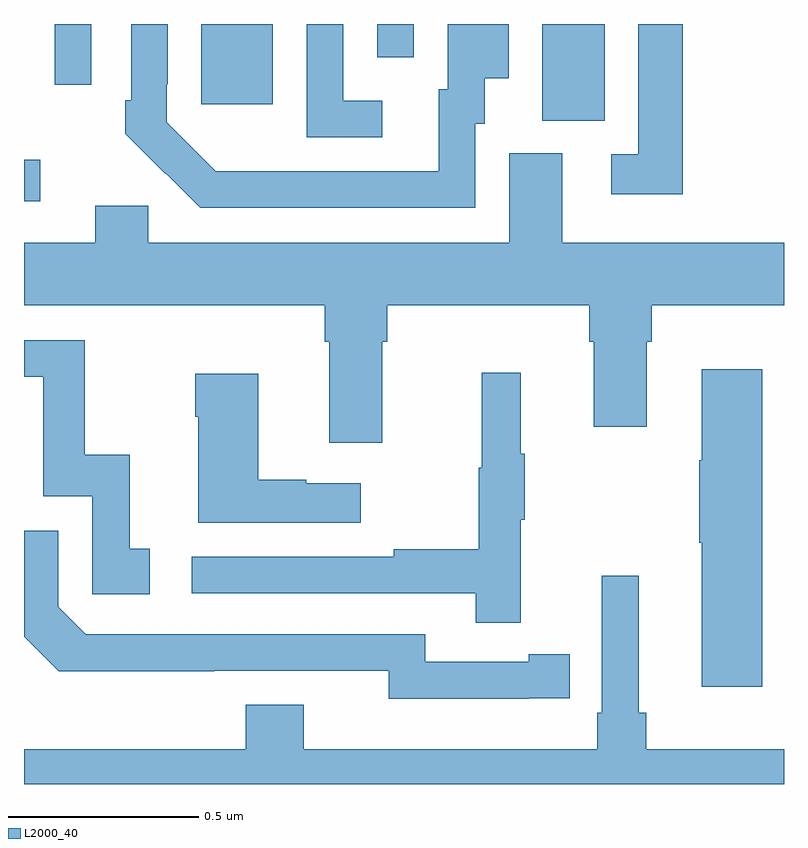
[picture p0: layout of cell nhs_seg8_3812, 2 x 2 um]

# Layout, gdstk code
import gdstk
lib = gdstk.Library(unit=1e-6, precision=1e-09)
def R(c, l, rs):  # rectangles x0, y0, x1, y1
    for r in rs: c.add(gdstk.rectangle(r[:2], r[2:], *l))
def P(c, l, *ps):  # polygons
    for p in ps: c.add(gdstk.Polygon(p, *l))
L2000_40 = (2000, 40)

nhs_seg8_3812 = lib.new_cell('nhs_seg8_3812')
R(nhs_seg8_3812, L2000_40, [(162,1123.434,162.043,1123.543), (163.364,1123.645,163.528,1123.9), (162.467,1123.689,162.655,1123.9), (162.081,1123.74,162.177,1123.9), (162.93,1123.812,163.026,1123.9)])
P(nhs_seg8_3812, L2000_40, [(163.188,1123.638),(163.213,1123.638),(163.213,1123.757),(163.276,1123.757),(163.276,1123.9),(163.115,1123.9),(163.115,1123.728),(163.091,1123.728),(163.091,1123.512),(162.607,1123.512),(162.607,1123.513),(162.504,1123.513),(162.375,1123.641),(162.375,1123.741),(162.378,1123.741),(162.378,1123.9),(162.282,1123.9),(162.282,1123.699),(162.267,1123.699),(162.267,1123.611),(162.372,1123.506),(162.373,1123.507),(162.464,1123.416),(163.188,1123.416)],
  [(162.943,1123.698),(162.84,1123.698),(162.84,1123.9),(162.744,1123.9),(162.744,1123.602),(162.943,1123.602)],
  [(163.733,1123.9),(163.617,1123.9),(163.617,1123.557),(163.545,1123.557),(163.545,1123.452),(163.733,1123.452)],
  [(162.943,1123.064),(162.956,1123.064),(162.956,1123.16),(163.487,1123.16),(163.487,1123.064),(163.499,1123.064),(163.499,1122.84),(163.639,1122.84),(163.639,1123.064),(163.652,1123.064),(163.652,1123.16),(164,1123.16),(164,1123.324),(163.417,1123.324),(163.417,1123.56),(163.277,1123.56),(163.277,1123.324),(162.327,1123.324),(162.327,1123.422),(162.188,1123.422),(162.188,1123.324),(162,1123.324),(162,1123.16),(162.791,1123.16),(162.791,1123.064),(162.803,1123.064),(162.803,1122.798),(162.943,1122.798)],
  [(162.331,1122.519),(162.278,1122.519),(162.278,1122.766),(162.16,1122.766),(162.16,1123.068),(162,1123.068),(162,1122.972),(162.051,1122.972),(162.051,1122.657),(162.18,1122.657),(162.18,1122.399),(162.331,1122.399)],
  [(163.943,1122.991),(163.784,1122.991),(163.784,1122.752),(163.777,1122.752),(163.777,1122.535),(163.784,1122.535),(163.784,1122.156),(163.943,1122.156)],
  [(163.307,1122.595),(163.318,1122.595),(163.318,1122.769),(163.307,1122.769),(163.307,1122.982),(163.204,1122.982),(163.204,1122.732),(163.197,1122.732),(163.197,1122.518),(162.973,1122.518),(162.973,1122.498),(162.441,1122.498),(162.441,1122.402),(163.189,1122.402),(163.189,1122.324),(163.307,1122.324)],
  [(162.886,1122.691),(162.743,1122.691),(162.743,1122.701),(162.616,1122.701),(162.616,1122.979),(162.451,1122.979),(162.451,1122.866),(162.458,1122.866),(162.458,1122.587),(162.886,1122.587)],
  [(163.328,1122.126),(163.436,1122.126),(163.436,1122.242),(163.328,1122.242),(163.328,1122.222),(163.056,1122.222),(163.056,1122.294),(162.162,1122.294),(162.09,1122.366),(162.09,1122.567),(162,1122.567),(162,1122.288),(162.092,1122.197),(162.5,1122.197),(162.5,1122.198),(162.96,1122.198),(162.96,1122.125),(163.328,1122.125)],
  [(164,1121.992),(163.637,1121.992),(163.637,1122.088),(163.618,1122.088),(163.618,1122.448),(163.521,1122.448),(163.521,1122.088),(163.508,1122.088),(163.508,1121.992),(162.736,1121.992),(162.736,1122.109),(162.584,1122.109),(162.584,1121.992),(162,1121.992),(162,1121.9),(164,1121.9)])

lib.write_gds('nhs_seg8_3812.gds')
